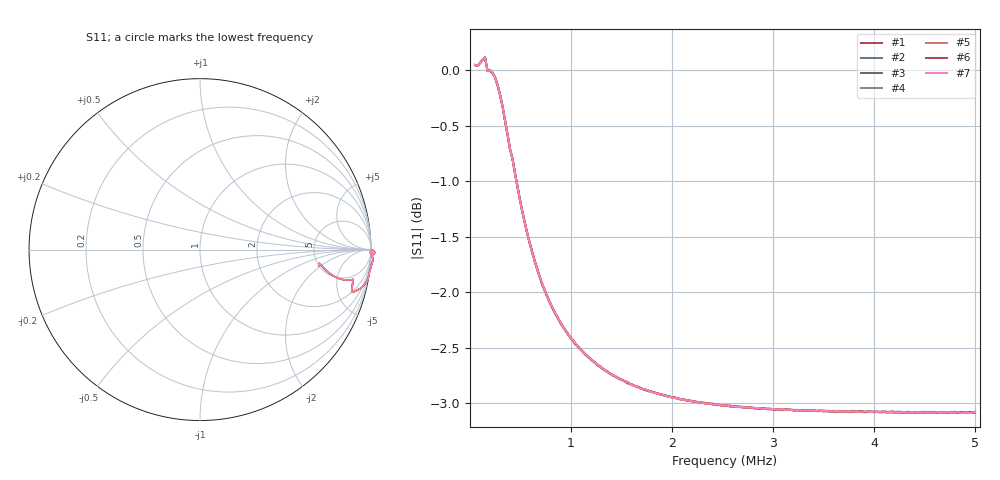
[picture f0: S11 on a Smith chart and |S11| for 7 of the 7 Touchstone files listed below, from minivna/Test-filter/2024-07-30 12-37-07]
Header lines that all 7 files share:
! NanoVNA-App by OneOfEleven et al v1.1.209 (+OD15)
! Start: 50kHz Stop: 5MHz Points: 201
! S-Parameter data: F S11 S21 S12 S22
# Hz S RI R 50
!  Frequency  S11_Real  S11_Imag  S21_Real  S21_Imag  S12_Real  S12_Imag  S22_Real  S22_Imag
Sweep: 50 kHz to 5 MHz
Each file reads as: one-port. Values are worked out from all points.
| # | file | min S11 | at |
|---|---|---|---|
| 1 | 0.s2p | -3.1 dB | 4.777 MHz |
| 2 | 2.s2p | -3.1 dB | 5 MHz |
| 3 | 3.s2p | -3.1 dB | 4.975 MHz |
| 4 | 4.s2p | -3.1 dB | 4.53 MHz |
| 5 | 5.s2p | -3.1 dB | 4.901 MHz |
| 6 | 7.s2p | -3.1 dB | 4.827 MHz |
| 7 | 8.s2p | -3.1 dB | 4.95 MHz |
